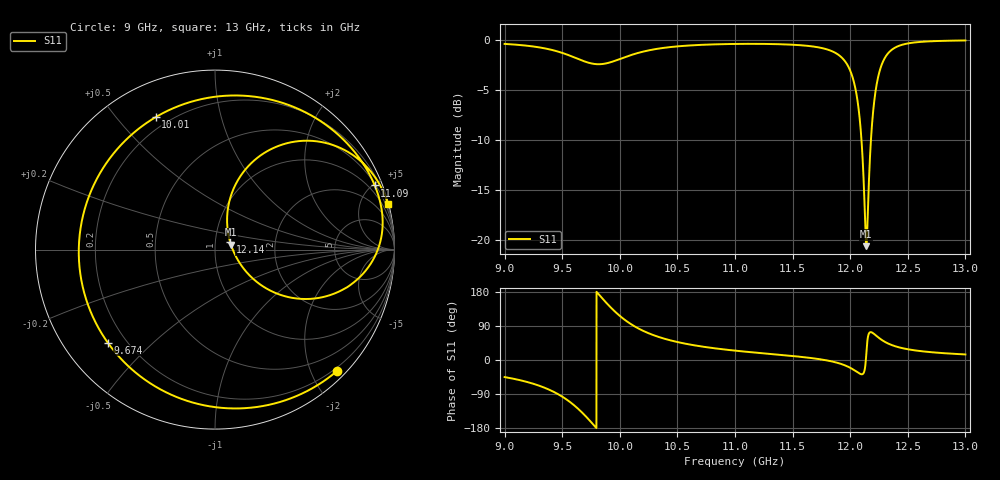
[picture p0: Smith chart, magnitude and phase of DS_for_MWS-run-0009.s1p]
! TOUCHSTONE file generated by CST DESIGN STUDIO
! Date and time: Tue Feb  4 17:35:16 2025
! Project name: C:\Work\MatlabApps\UnitCellOptimizationMatlab\CST\unitcell.cst
! Tree item: Tasks\Sweep1\SPara1\S-Parameters
! Header version: 2024
! Port assignment regex: !\s*Touchstone port\s*([0-9]+)\s*=\s*(CST MWS port|CST DES external port|CST DES block port)\s*(.+)\s* \(\"(.*)\"\)(\s*mode\s*([0-9]+))?.*
! Touchstone port assignment:
! Touchstone port 1 = CST DES external port 1 ("")
# GHz S MA R 50
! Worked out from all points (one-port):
!   4001 points, 9 GHz to 13 GHz, reference 50 ohm
!   lowest |S11| = -20.6 dB at 12.14 GHz (marker M1), VSWR 1.21, Z = 59.7 + j3.29 ohm
!   |S11| at or under -10 dB: 12.1 GHz to 12.18 GHz (81.99 MHz wide, 0.675 % of centre)
!   S11 on the Smith chart (normalised r, x): 9 GHz: 0.14, -2.40; 9.674 GHz: 0.13, -0.37; 10.01 GHz: 0.15, +0.64; 11.09 GHz: 0.57, +5.11; 12.14 GHz: 1.18, +0.10; 13 GHz: 0.08, +7.76
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9  0.9587 -45.0
9.274  0.9262 -65.1
9.5  0.8644 -96.6
9.59  0.8272 -116.1
9.674  0.7909 -139.1
9.753  0.7655 -164.6
9.825  0.7585 170.5
9.917  0.7751 140.0
10  0.8051 116.4
10.009  0.8086 114.1
10.112  0.8481 91.8
10.243  0.8878 71.5
10.5  0.9317 47.4
11  0.9582 24.7
11.093  0.9591 21.9
11.5  0.9496 10.5
11.837  0.8838 -3.5
12  0.7046 -20.5
12.077  0.4334 -35.0
12.101  0.2979 -37.7
12.128  0.1317 -21.9
12.14  0.09305 17.1
12.142  0.0941 25.7
12.194  0.4082 71.7
12.246  0.6677 59.2
12.353  0.8883 40.4
12.5  0.9637 28.4
13  0.9975 14.7
